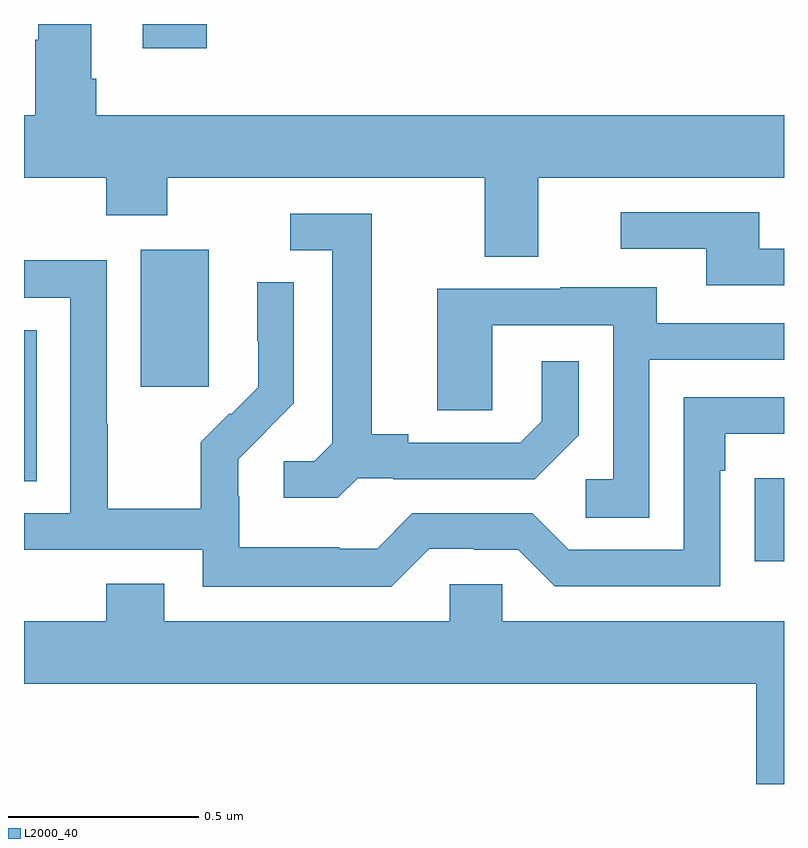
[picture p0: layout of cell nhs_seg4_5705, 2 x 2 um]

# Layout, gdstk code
import gdstk
lib = gdstk.Library(unit=1e-6, precision=1e-09)
def R(c, l, rs):  # rectangles x0, y0, x1, y1
    for r in rs: c.add(gdstk.rectangle(r[:2], r[2:], *l))
def P(c, l, *ps):  # polygons
    for p in ps: c.add(gdstk.Polygon(p, *l))
L2000_40 = (2000, 40)

nhs_seg4_5705 = lib.new_cell('nhs_seg4_5705')
R(nhs_seg4_5705, L2000_40, [(182.923,786.486,183,786.704), (181,786.697,181.033,787.094), (181.307,786.945,181.486,787.306), (181.313,787.836,181.481,787.9)])
P(nhs_seg4_5705, L2000_40, [(182.353,787.496),(183,787.496),(183,787.66),(181.19,787.66),(181.19,787.756),(181.177,787.756),(181.177,787.9),(181.037,787.9),(181.037,787.859),(181.03,787.859),(181.03,787.66),(181,787.66),(181,787.496),(181.217,787.496),(181.217,787.397),(181.377,787.397),(181.377,787.496),(182.213,787.496),(182.213,787.288),(182.353,787.288)],
  [(183,787.308),(182.935,787.308),(182.935,787.404),(182.571,787.404),(182.571,787.308),(182.795,787.308),(182.795,787.212),(183,787.212)],
  [(181.878,786.705),(181.972,786.705),(181.972,786.702),(182.344,786.702),(182.46,786.818),(182.46,787.012),(182.363,787.012),(182.363,786.855),(182.306,786.798),(182.011,786.798),(182.011,786.821),(181.915,786.821),(181.915,787.401),(181.701,787.401),(181.701,787.305),(181.811,787.305),(181.811,786.797),(181.764,786.75),(181.683,786.75),(181.683,786.653),(181.826,786.653)],
  [(182.067,786.519),(182.183,786.519),(182.183,786.516),(182.301,786.516),(182.397,786.42),(182.832,786.42),(182.832,786.725),(182.845,786.725),(182.845,786.822),(183,786.822),(183,786.918),(182.736,786.918),(182.736,786.516),(182.433,786.516),(182.337,786.612),(182.022,786.612),(181.929,786.519),(181.829,786.519),(181.829,786.523),(181.566,786.523),(181.566,786.657),(181.564,786.657),(181.564,786.754),(181.638,786.828),(181.637,786.829),(181.71,786.902),(181.71,787.22),(181.614,787.22),(181.614,787.066),(181.616,787.066),(181.616,786.944),(181.545,786.873),(181.542,786.876),(181.465,786.799),(181.465,786.625),(181.221,786.625),(181.221,786.848),(181.218,786.848),(181.218,787.278),(181,787.278),(181,787.179),(181.122,787.179),(181.122,786.612),(181,786.612),(181,786.516),(181.47,786.516),(181.47,786.419),(181.967,786.419)],
  [(182.646,787.017),(183,787.017),(183,787.113),(182.665,787.113),(182.665,787.207),(182.411,787.207),(182.411,787.203),(182.087,787.203),(182.087,786.883),(182.232,786.883),(182.232,787.107),(182.55,787.107),(182.55,786.702),(182.478,786.702),(182.478,786.601),(182.646,786.601)],
  [(183,786.328),(182.259,786.328),(182.259,786.426),(182.121,786.426),(182.121,786.328),(181.369,786.328),(181.369,786.427),(181.217,786.427),(181.217,786.328),(181,786.328),(181,786.164),(182.927,786.164),(182.927,785.9),(183,785.9)])

lib.write_gds('nhs_seg4_5705.gds')
